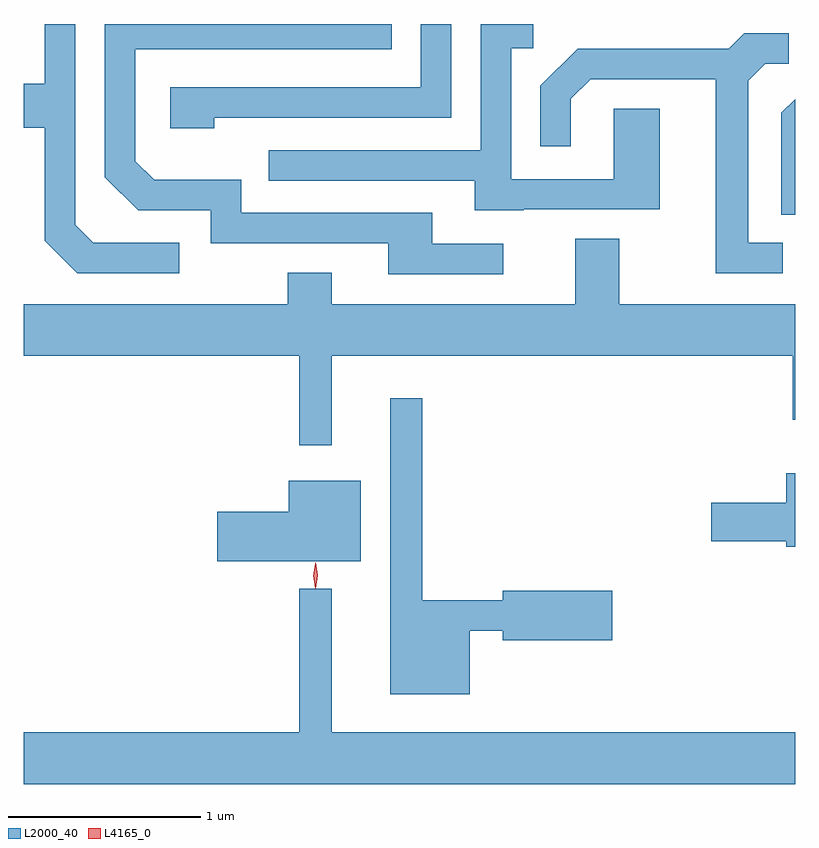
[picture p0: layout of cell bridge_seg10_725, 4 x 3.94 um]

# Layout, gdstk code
import gdstk
lib = gdstk.Library(unit=1e-6, precision=1e-09)
def P(c, l, *ps):  # polygons
    for p in ps: c.add(gdstk.Polygon(p, *l))
L2000_40 = (2000, 40)
L4165_0 = (4165, 0)

bridge_seg10_725 = lib.new_cell('bridge_seg10_725')
P(bridge_seg10_725, L2000_40, [(549.038,2161.119),(548.669,2161.119),(548.669,2161.279),(547.679,2161.279),(547.679,2161.449),(547.227,2161.449),(547.129,2161.547),(547.129,2162.126),(548.459,2162.126),(548.459,2162.258),(546.971,2162.258),(546.971,2161.464),(547.144,2161.291),(547.521,2161.291),(547.521,2161.121),(548.441,2161.121),(548.441,2160.961),(549.038,2160.961)],
  [(547.539,2161.771),(548.769,2161.771),(548.769,2162.258),(548.611,2162.258),(548.611,2161.929),(547.311,2161.929),(547.311,2161.716),(547.539,2161.716)],
  [(549.145,2161.296),(549.849,2161.296),(549.849,2161.819),(549.611,2161.819),(549.611,2161.454),(549.079,2161.454),(549.079,2162.131),(549.193,2162.131),(549.193,2162.258),(548.921,2162.258),(548.921,2161.604),(547.823,2161.604),(547.823,2161.446),(548.891,2161.446),(548.891,2161.291),(549.145,2161.291)],
  [(547.358,2161.124),(546.912,2161.124),(546.819,2161.217),(546.819,2162.258),(546.661,2162.258),(546.661,2161.949),(546.552,2161.949),(546.552,2161.721),(546.661,2161.721),(546.661,2161.134),(546.829,2160.966),(547.358,2160.966)],
  [(550.488,2161.124),(550.309,2161.124),(550.309,2161.964),(550.397,2162.051),(550.518,2162.051),(550.518,2162.209),(550.289,2162.209),(550.209,2162.129),(549.424,2162.129),(549.231,2161.937),(549.231,2161.623),(549.389,2161.623),(549.389,2161.869),(549.492,2161.971),(550.141,2161.971),(550.141,2160.966),(550.488,2160.966)],
  [(550.552,2161.868),(550.481,2161.797),(550.481,2161.268),(550.552,2161.268)],
  [(548.149,2160.536),(550.541,2160.536),(550.541,2160.206),(550.552,2160.206),(550.552,2160.804),(549.639,2160.804),(549.639,2161.144),(549.411,2161.144),(549.411,2160.804),(548.149,2160.804),(548.149,2160.969),(547.921,2160.969),(547.921,2160.804),(546.552,2160.804),(546.552,2160.536),(547.981,2160.536),(547.981,2160.073),(548.149,2160.073)],
  [(548.864,2159.111),(549.036,2159.111),(549.036,2159.061),(549.604,2159.061),(549.604,2159.319),(549.036,2159.319),(549.036,2159.269),(548.619,2159.269),(548.619,2160.318),(548.451,2160.318),(548.451,2158.781),(548.864,2158.781)],
  [(550.552,2159.929),(550.506,2159.929),(550.506,2159.774),(550.116,2159.774),(550.116,2159.576),(550.506,2159.576),(550.506,2159.546),(550.552,2159.546)],
  [(548.299,2159.889),(547.926,2159.889),(547.926,2159.729),(547.556,2159.729),(547.556,2159.471),(548.299,2159.471)],
  [(550.552,2158.584),(548.149,2158.584),(548.149,2159.328),(547.981,2159.328),(547.981,2158.584),(546.552,2158.584),(546.552,2158.316),(550.552,2158.316)])
P(bridge_seg10_725, L4165_0, [(548.064,2159.33),(548.056,2159.398),(548.066,2159.466),(548.066,2159.466),(548.067,2159.466),(548.076,2159.398),(548.066,2159.33),(548.065,2159.33)],
  [(548.062,2159.333),(548.062,2159.334),(548.052,2159.396),(548.062,2159.459),(548.062,2159.46),(548.062,2159.459),(548.072,2159.396),(548.062,2159.334)])

lib.write_gds('bridge_seg10_725.gds')
